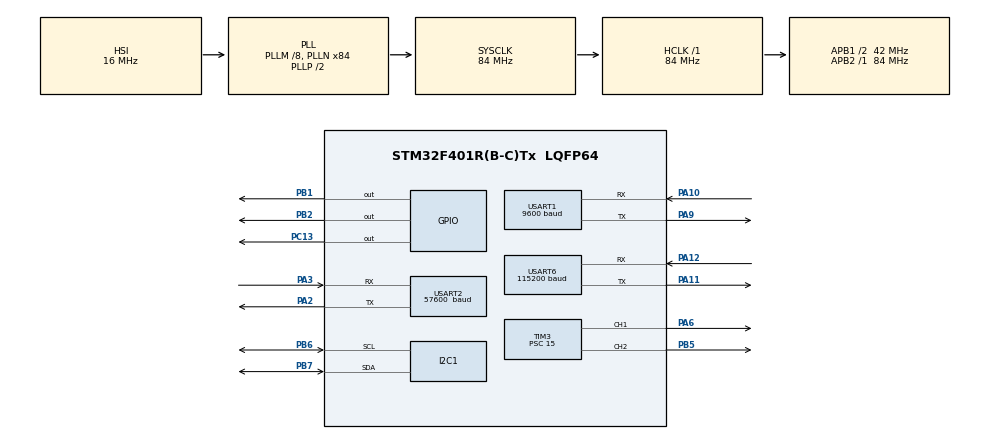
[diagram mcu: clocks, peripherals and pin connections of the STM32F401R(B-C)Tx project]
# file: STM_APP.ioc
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Dma.I2C1_RX.2.Direction=DMA_PERIPH_TO_MEMORY
Dma.I2C1_RX.2.FIFOMode=DMA_FIFOMODE_ENABLE
Dma.I2C1_RX.2.FIFOThreshold=DMA_FIFO_THRESHOLD_1QUARTERFULL
Dma.I2C1_RX.2.Instance=DMA1_Stream5
Dma.I2C1_RX.2.MemBurst=DMA_MBURST_SINGLE
Dma.I2C1_RX.2.MemDataAlignment=DMA_MDATAALIGN_HALFWORD
Dma.I2C1_RX.2.MemInc=DMA_MINC_ENABLE
Dma.I2C1_RX.2.Mode=DMA_NORMAL
Dma.I2C1_RX.2.PeriphBurst=DMA_PBURST_SINGLE
Dma.I2C1_RX.2.PeriphDataAlignment=DMA_PDATAALIGN_BYTE
Dma.I2C1_RX.2.PeriphInc=DMA_PINC_DISABLE
Dma.I2C1_RX.2.Priority=DMA_PRIORITY_MEDIUM
Dma.Request0=USART6_TX
Dma.Request1=USART6_RX
Dma.Request2=I2C1_RX
Dma.Request3=USART1_RX
Dma.Request4=USART2_TX
Dma.USART1_RX.3.Direction=DMA_PERIPH_TO_MEMORY
Dma.USART1_RX.3.FIFOMode=DMA_FIFOMODE_ENABLE
Dma.USART1_RX.3.FIFOThreshold=DMA_FIFO_THRESHOLD_1QUARTERFULL
Dma.USART1_RX.3.Instance=DMA2_Stream5
Dma.USART1_RX.3.MemBurst=DMA_MBURST_SINGLE
Dma.USART1_RX.3.MemDataAlignment=DMA_MDATAALIGN_HALFWORD
Dma.USART1_RX.3.MemInc=DMA_MINC_ENABLE
Dma.USART1_RX.3.Mode=DMA_NORMAL
Dma.USART1_RX.3.PeriphBurst=DMA_PBURST_SINGLE
Dma.USART1_RX.3.PeriphDataAlignment=DMA_PDATAALIGN_BYTE
Dma.USART1_RX.3.PeriphInc=DMA_PINC_DISABLE
Dma.USART1_RX.3.Priority=DMA_PRIORITY_MEDIUM
Dma.USART2_TX.4.Direction=DMA_MEMORY_TO_PERIPH
Dma.USART2_TX.4.FIFOMode=DMA_FIFOMODE_ENABLE
Dma.USART2_TX.4.FIFOThreshold=DMA_FIFO_THRESHOLD_1QUARTERFULL
Dma.USART2_TX.4.Instance=DMA1_Stream6
Dma.USART2_TX.4.MemBurst=DMA_MBURST_SINGLE
Dma.USART2_TX.4.MemDataAlignment=DMA_MDATAALIGN_HALFWORD
Dma.USART2_TX.4.MemInc=DMA_MINC_ENABLE
Dma.USART2_TX.4.Mode=DMA_NORMAL
Dma.USART2_TX.4.PeriphBurst=DMA_PBURST_SINGLE
Dma.USART2_TX.4.PeriphDataAlignment=DMA_PDATAALIGN_BYTE
Dma.USART2_TX.4.PeriphInc=DMA_PINC_DISABLE
Dma.USART2_TX.4.Priority=DMA_PRIORITY_LOW
Dma.USART6_RX.1.Direction=DMA_PERIPH_TO_MEMORY
Dma.USART6_RX.1.FIFOMode=DMA_FIFOMODE_DISABLE
Dma.USART6_RX.1.Instance=DMA2_Stream1
Dma.USART6_RX.1.MemDataAlignment=DMA_MDATAALIGN_BYTE
Dma.USART6_RX.1.MemInc=DMA_MINC_ENABLE
Dma.USART6_RX.1.Mode=DMA_NORMAL
Dma.USART6_RX.1.PeriphDataAlignment=DMA_PDATAALIGN_BYTE
Dma.USART6_RX.1.PeriphInc=DMA_PINC_DISABLE
Dma.USART6_RX.1.Priority=DMA_PRIORITY_LOW
Dma.USART6_TX.0.Direction=DMA_MEMORY_TO_PERIPH
Dma.USART6_TX.0.FIFOMode=DMA_FIFOMODE_DISABLE
Dma.USART6_TX.0.Instance=DMA2_Stream6
Dma.USART6_TX.0.MemDataAlignment=DMA_MDATAALIGN_BYTE
Dma.USART6_TX.0.MemInc=DMA_MINC_ENABLE
Dma.USART6_TX.0.Mode=DMA_NORMAL
Dma.USART6_TX.0.PeriphDataAlignment=DMA_PDATAALIGN_BYTE
Dma.USART6_TX.0.PeriphInc=DMA_PINC_DISABLE
Dma.USART6_TX.0.Priority=DMA_PRIORITY_LOW
FREERTOS.BinarySemaphores01=MPU_Semaphore,Dynamic,NULL;Ras_Tx_Semaphore,Dynamic,NULL;Engine_Semaphore,Dynamic,NULL;Lidar_Semaphore,Dynamic,NULL
FREERTOS.Queues01=Ras_Tx_Queue01,15,270,1,Static,Ras_Tx_Queue01Buffer,Ras_Tx_Queue01ControlBlock
FREERTOS.Tasks01=defaultTask,24,128,StartDefaultTask,Default,NULL,Dynamic,NULL,NULL;MPUTask02,40,1024,MPU_Task,Default,&hMPU,Dynamic,NULL,NULL;RasTask03,40,512,Ras_TX_Task,Default,NULL,Dynamic,NULL,NULL;EngineTask04,8,512,Engine_Task,Default,NULL,Dynamic,NULL,NULL;LidarTask05,39,512,Lidar_Task,Default,NULL,Dynamic,NULL,NULL
FREERTOS.configENABLE_FPU=1
FREERTOS.configGENERATE_RUN_TIME_STATS=1
FREERTOS.configTOTAL_HEAP_SIZE=22000
FREERTOS.configUSE_NEWLIB_REENTRANT=1
Mcu.Family=STM32F4
Mcu.Name=STM32F401R(B-C)Tx
Mcu.Package=LQFP64
NVIC.DMA1_Stream5_IRQn=true\:5\:0\:false\:false\:true\:false\:false\:true\:true
NVIC.DMA1_Stream6_IRQn=true\:5\:0\:false\:false\:true\:true\:false\:true\:true
NVIC.DMA2_Stream1_IRQn=true\:5\:0\:false\:false\:true\:true\:false\:true\:true
NVIC.DMA2_Stream5_IRQn=true\:5\:0\:false\:false\:true\:false\:false\:true\:true
NVIC.DMA2_Stream6_IRQn=true\:5\:0\:false\:false\:true\:true\:false\:true\:true
NVIC.PriorityGroup=NVIC_PRIORITYGROUP_4
NVIC.TIM2_IRQn=true\:15\:0\:false\:false\:true\:false\:false\:true\:true
NVIC.TIM3_IRQn=true\:5\:0\:false\:false\:true\:true\:true\:true\:true
NVIC.TimeBase=TIM2_IRQn
NVIC.TimeBaseIP=TIM2
NVIC.USART1_IRQn=true\:5\:0\:false\:false\:true\:true\:true\:true\:true
NVIC.USART2_IRQn=true\:5\:0\:false\:false\:true\:true\:true\:true\:true
NVIC.USART6_IRQn=true\:5\:0\:false\:false\:true\:true\:true\:true\:true
PA10.Mode=Asynchronous
PA10.Signal=USART1_RX
PA11.Mode=Asynchronous
PA11.Signal=USART6_TX
PA12.Mode=Asynchronous
PA12.Signal=USART6_RX
PA2.Mode=Asynchronous
PA2.Signal=USART2_TX
PA3.Mode=Asynchronous
PA3.Signal=USART2_RX
PA6.Signal=S_TIM3_CH1
PA9.Mode=Asynchronous
PA9.Signal=USART1_TX
PB1.Signal=GPIO_Output
PB2.Signal=GPIO_Output
PB5.Signal=S_TIM3_CH2
PB6.Mode=I2C
PB6.Signal=I2C1_SCL
PB7.Mode=I2C
PB7.Signal=I2C1_SDA
PC13-ANTI_TAMP.Signal=GPIO_Output
ProjectManager.HeapSize=0x200
ProjectManager.StackSize=0x400
ProjectManager.TargetToolchain=STM32CubeIDE
RCC.48MHZClocksFreq_Value=42000000
RCC.AHBFreq_Value=84000000
RCC.APB1CLKDivider=RCC_HCLK_DIV2
RCC.APB1Freq_Value=42000000
RCC.APB1TimFreq_Value=84000000
RCC.APB2Freq_Value=84000000
RCC.APB2TimFreq_Value=84000000
RCC.CortexFreq_Value=84000000
RCC.HCLKFreq_Value=84000000
RCC.HSE_VALUE=25000000
RCC.HSI_VALUE=16000000
RCC.LSE_VALUE=32768
RCC.PLLM=8
RCC.PLLN=84
RCC.SYSCLKFreq_VALUE=84000000
RCC.SYSCLKSource=RCC_SYSCLKSOURCE_PLLCLK
RCC.VCOOutputFreq_Value=168000000
SH.S_TIM3_CH1.0=TIM3_CH1,PWM Generation1 CH1
SH.S_TIM3_CH2.0=TIM3_CH2,PWM Generation2 CH2
TIM3.AutoReloadPreload=TIM_AUTORELOAD_PRELOAD_ENABLE
TIM3.Channel-PWM\ Generation1\ CH1=TIM_CHANNEL_1
TIM3.Channel-PWM\ Generation2\ CH2=TIM_CHANNEL_2
TIM3.Prescaler=15
TIM3.Pulse-PWM\ Generation2\ CH2=24
USART1.BaudRate=9600
USART1.VirtualMode=VM_ASYNC
USART2.BaudRate=57600 
USART2.VirtualMode=VM_ASYNC
USART6.BaudRate=115200
USART6.VirtualMode=VM_ASYNC
VP_FREERTOS_VS_CMSIS_V2.Mode=CMSIS_V2
VP_SYS_VS_tim2.Mode=TIM2
VP_TIM3_VS_ClockSourceINT.Mode=Internal
board=custom

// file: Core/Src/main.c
/* USER CODE BEGIN Header */
/**
  ******************************************************************************
  * @file           : main.c
  * @brief          : Main program body
  ******************************************************************************
  * @attention
  *
  * Copyright (c) 2024 STMicroelectronics.
  * All rights reserved.
  *
  * This software is licensed under terms that can be found in the LICENSE file
  * in the root directory of this software component.
  * If no LICENSE file comes with this software, it is provided AS-IS.
  *
  ******************************************************************************
  */
/* USER CODE END Header */
#include "main.h"
#include "cmsis_os.h"

/* USER CODE BEGIN Includes */

/*************** Fully working Example of Queue ****************/
/*
#define MSGQUEUE_OBJECTS 16                     // number of Message Queue Objects

typedef struct {                                // object data type
  char *Buf;
  uint8_t Idx;
} MSGQUEUE_OBJ_t;

osMessageQueueId_t mid_MsgQueue;

osThreadId_t tid_Thread_MsgQueue1;              // thread id 1
osThreadId_t tid_Thread_MsgQueue2;              // thread id 2

void Thread_MsgQueue1 (void *argument);         // thread function 1
void Thread_MsgQueue2 (void *argument);         // thread function 2

int Init_MsgQueue (void) {

  mid_MsgQueue = osMessageQueueNew(MSGQUEUE_OBJECTS, sizeof(MSGQUEUE_OBJ_t), NULL);
  if (mid_MsgQueue == NULL) {
    ; // Message Queue object not created, handle failure
  }

  tid_Thread_MsgQueue1 = osThreadNew(Thread_MsgQueue1, NULL, NULL);
  if (tid_Thread_MsgQueue1 == NULL) {
    return(-1);
  }
  tid_Thread_MsgQueue2 = osThreadNew(Thread_MsgQueue2, NULL, NULL);
  if (tid_Thread_MsgQueue2 == NULL) {
    return(-1);
  }

  return(0);
}

void Thread_MsgQueue1 (void *argument) {

	char msgs[][10] = {"3eed" , "ayoub" , "balio", "khairy" ,"abo ali"};
	uint8_t i  = 0;
//  MSGQUEUE_OBJ_t msg;
	char* msg;
  while (1) {
    ; // Insert thread code here...
    msg = msgs[i++];
//    msg.Buf = msgs[i];                                        // do some work...
//    msg.Idx    = i++;
    if(i > 4) i = 0;
    osMessageQueuePut(mid_MsgQueue, &msg, 0U, 0U);
    osThreadYield();                                            // suspend thread
  }
}

void Thread_MsgQueue2 (void *argument) {
//  MSGQUEUE_OBJ_t msg;
	char* msg;
  osStatus_t status;

  while (1) {
    ; // Insert thread code here...
    status = osMessageQueueGet(mid_MsgQueue, &msg, NULL, osWaitForever);   // wait for message
    status = osOK;
    if (status == osOK) {
      ; // process data
    }
  }
}
*/
#include "testing/test.h"
#include "MOV_Task/MOV.h"
#include "Lidar_Task/Lidar_Task.h"
#include "FCW_Application/FCW_App.h"
#include "Engine_RX_Task/Engine_RX_Task.h"
/* USER CODE END Includes */

typedef StaticQueue_t osStaticMessageQDef_t;
/* USER CODE BEGIN PTD */
typedef enum
{
	SYS_BLUETOOTH_RX,
	SYS_MPU_ACTION,
	SYS_MPU_DATA_BUFFER,
	SYS_MOVEMENT_ACTION,
	SYS_FRAME_COMPLETE,
	STS_DO_NOTHING

}SYS_State_t;
/* USER CODE END PTD */

/* USER CODE BEGIN PD */
char n=0, i =0, j =0;
/* USER CODE END PD */

I2C_HandleTypeDef hi2c1;
DMA_HandleTypeDef hdma_i2c1_rx;

TIM_HandleTypeDef htim3;

UART_HandleTypeDef huart1;
UART_HandleTypeDef huart2;
UART_HandleTypeDef huart6;
DMA_HandleTypeDef hdma_usart1_rx;
DMA_HandleTypeDef hdma_usart2_tx;
DMA_HandleTypeDef hdma_usart6_tx;
DMA_HandleTypeDef hdma_usart6_rx;

/* Definitions for defaultTask */
osThreadId_t defaultTaskHandle;
const osThreadAttr_t defaultTask_attributes = {
  .name = "defaultTask",
  .stack_size = 128 * 4,
  .priority = (osPriority_t) osPriorityNormal,
};
/* Definitions for MPUTask02 */
osThreadId_t MPUTask02Handle;
const osThreadAttr_t MPUTask02_attributes = {
  .name = "MPUTask02",
  .stack_size = 1024 * 4,
  .priority = (osPriority_t) osPriorityHigh,
};
/* Definitions for RasTask03 */
osThreadId_t RasTask03Handle;
const osThreadAttr_t RasTask03_attributes = {
  .name = "RasTask03",
  .stack_size = 512 * 4,
  .priority = (osPriority_t) osPriorityHigh,
};
/* Definitions for EngineTask04 */
osThreadId_t EngineTask04Handle;
const osThreadAttr_t EngineTask04_attributes = {
  .name = "EngineTask04",
  .stack_size = 512 * 4,
  .priority = (osPriority_t) osPriorityLow,
};
/* Definitions for LidarTask05 */
osThreadId_t LidarTask05Handle;
const osThreadAttr_t LidarTask05_attributes = {
  .name = "LidarTask05",
  .stack_size = 512 * 4,
  .priority = (osPriority_t) osPriorityAboveNormal7,
};
/* Definitions for Ras_Tx_Queue01 */
osMessageQueueId_t Ras_Tx_Queue01Handle;
uint8_t Ras_Tx_Queue01Buffer[ 15 * 270 ];
osStaticMessageQDef_t Ras_Tx_Queue01ControlBlock;
const osMessageQueueAttr_t Ras_Tx_Queue01_attributes = {
  .name = "Ras_Tx_Queue01",
  .cb_mem = &Ras_Tx_Queue01ControlBlock,
  .cb_size = sizeof(Ras_Tx_Queue01ControlBlock),
  .mq_mem = &Ras_Tx_Queue01Buffer,
  .mq_size = sizeof(Ras_Tx_Queue01Buffer)
};
/* Definitions for MPU_Semaphore */
osSemaphoreId_t MPU_SemaphoreHandle;
const osSemaphoreAttr_t MPU_Semaphore_attributes = {
  .name = "MPU_Semaphore"
};
/* Definitions for Ras_Tx_Semaphore */
osSemaphoreId_t Ras_Tx_SemaphoreHandle;
const osSemaphoreAttr_t Ras_Tx_Semaphore_attributes = {
  .name = "Ras_Tx_Semaphore"
};
/* Definitions for Engine_Semaphore */
osSemaphoreId_t Engine_SemaphoreHandle;
const osSemaphoreAttr_t Engine_Semaphore_attributes = {
  .name = "Engine_Semaphore"
};
/* Definitions for Lidar_Semaphore */
osSemaphoreId_t Lidar_SemaphoreHandle;
const osSemaphoreAttr_t Lidar_Semaphore_attributes = {
  .name = "Lidar_Semaphore"
};
/* USER CODE BEGIN PV */
/* Definitions for Mov_Semaphore */
//osSemaphoreId_t MOV_SemaphoreHandle;
//const osSemaphoreAttr_t MOV_Semaphore_attributes = {
//  .name = "MOV_Semaphore"
//};

/* Definitions for Lidar_Semaphore */
//osSemaphoreId_t Lidar_SemaphoreHandle;
//const osSemaphoreAttr_t Lidar_Semaphore_attributes = {
//  .name = "Lidar_Semaphore"
//};
/* Definitions for myTask03 */
//osThreadId_t myTask04Handle;
//const osThreadAttr_t myTask04_attributes = {
//  .name = "Mov",
//  .stack_size = 256 * 4,
//  .priority = (osPriority_t) osPriorityLow,
//};

//osThreadId_t myTask05Handle;
//const osThreadAttr_t myTask05_attributes = {
//  .name = "Lidar",
//  .stack_size = 512 * 4,
//  .priority = (osPriority_t) osPriorityLow,
//};
Bluetooth_Handler hbluetooth1;

Task_MOV_Data mov_Data=
{
		.hmotor_1 = &MOTOR_1_cfg,
		.hmotor_2 = &MOTOR_2_cfg,
		.h_bluetooth = &hbluetooth1
};

SYS_State_t state = STS_DO_NOTHING;

Lidar_Handle hluna;

FCW_Handle fcwHandle ;

//MOV_Handler hmove ;
//int n =0;
/* USER CODE END PV */

void SystemClock_Config(void);
static void MX_GPIO_Init(void);
static void MX_DMA_Init(void);
static void MX_TIM3_Init(void);
static void MX_USART6_UART_Init(void);
static void MX_I2C1_Init(void);
static void MX_USART1_UART_Init(void);
static void MX_USART2_UART_Init(void);
void StartDefaultTask(void *argument);

/* USER CODE BEGIN PFP */
void Task1(void *argument);
void Task2(void *argument);
void Objects_init(void);
void Task_Test(void *argument);
/* USER CODE END PFP */

int main(void)
{

  /* MCU Configuration--------------------------------------------------------*/

  /* Reset of all peripherals, Initializes the Flash interface and the Systick. */
  HAL_Init();

  /* USER CODE BEGIN Init */
//  Init_MsgQueue();
  /* USER CODE END Init */

  /* Configure the system clock */
  SystemClock_Config();

  /* Initialize all configured peripherals */
  MX_GPIO_Init();
  MX_DMA_Init();
  MX_TIM3_Init();
  MX_USART6_UART_Init();
  MX_I2C1_Init();
  MX_USART1_UART_Init();
  MX_USART2_UART_Init();
  /* USER CODE BEGIN 2 */
//  SystemClock_Cfg();
//  Peripherals_Init();

  MPU_enuInit(&hMPU);

//  HAL_TIM_Base_Start_IT(&htim2);
  Objects_init();

//  unsigned char data;
//  HAL_UART_Receive_IT(&huart6, &data, sizeof(uint8_t));

  //MOV_enuReceiveData(&hbluetooth1);

  /* USER CODE END 2 */

  /* Init scheduler */
  osKernelInitialize();

  /* Create the semaphores(s) */
  /* creation of MPU_Semaphore */
  MPU_SemaphoreHandle = osSemaphoreNew(1, 0, &MPU_Semaphore_attributes);

  /* creation of Ras_Tx_Semaphore */
  Ras_Tx_SemaphoreHandle = osSemaphoreNew(1, 0, &Ras_Tx_Semaphore_attributes);

  /* creation of Engine_Semaphore */
  Engine_SemaphoreHandle = osSemaphoreNew(1, 0, &Engine_Semaphore_attributes);

  /* creation of Lidar_Semaphore */
  Lidar_SemaphoreHandle = osSemaphoreNew(1, 0, &Lidar_Semaphore_attributes);

  /* USER CODE BEGIN RTOS_SEMAPHORES */
//  MOV_SemaphoreHandle = osSemaphoreNew(1U, 0U, &MOV_Semaphore_attributes);
  osSemaphoreRelease(MPU_SemaphoreHandle); //start the semaphore with 1
  osSemaphoreRelease(Ras_Tx_SemaphoreHandle); //start the semaphore with 1
  osSemaphoreRelease(Lidar_SemaphoreHandle); //start the semaphore with 1
//  /* USER CODE BEGIN RTOS_SEMAPHORES */
//  Lidar_SemaphoreHandle = osSemaphoreNew(1U, 1U, &Lidar_Semaphore_attributes);

  /* add semaphores, ... */
  /* USER CODE END RTOS_SEMAPHORES */

  /* Create the queue(s) */
  /* creation of Ras_Tx_Queue01 */
  Ras_Tx_Queue01Handle = osMessageQueueNew (15, 270, &Ras_Tx_Queue01_attributes);

  /* USER CODE BEGIN RTOS_QUEUES */
//  testing_logs_init(&Ras_Tx_Queue01Handle);
  Ras_TX_task_init(&Ras_Tx_Queue01Handle,&Ras_Tx_SemaphoreHandle,&huart2);
  MPU_Init_Task(&Ras_Tx_Queue01Handle,&MPU_SemaphoreHandle,&fcwHandle);
//  MOV_Init_Task(&hbluetooth1,&MOV_SemaphoreHandle,&fcwHandle);
  Lidar_Init_Task(&Lidar_SemaphoreHandle,&hluna, &huart6,&fcwHandle);
  Engine_RX_Task_init(&Engine_SemaphoreHandle,&huart1,&fcwHandle);
//  Test1_init(&Ras_Tx_Queue01Handle);
  /* add queues, ... */
  /* USER CODE END RTOS_QUEUES */

  /* Create the thread(s) */
  /* creation of defaultTask */
  defaultTaskHandle = osThreadNew(StartDefaultTask, NULL, &defaultTask_attributes);

  /* creation of MPUTask02 */
  MPUTask02Handle = osThreadNew(MPU_Task, (void*) &hMPU, &MPUTask02_attributes);

  /* creation of RasTask03 */
  RasTask03Handle = osThreadNew(Ras_TX_Task, NULL, &RasTask03_attributes);

  /* creation of EngineTask04 */
  EngineTask04Handle = osThreadNew(Engine_RX_Task, NULL, &EngineTask04_attributes);

  /* creation of LidarTask05 */
  LidarTask05Handle = osThreadNew(Lidar_Task, NULL, &LidarTask05_attributes);

  /* USER CODE BEGIN RTOS_THREADS */
  /* add threads, ... */
  /* creation of myTask04 */
  ////myTask04Handle = osThreadNew(MOV_Task, &mov_Data, &myTask04_attributes);
  //printTaskState( "Mov Task",osThreadGetState(myTask04Handle),"[Before Kernel Start]");
  /* creation of myTask05 */
  ////myTask05Handle = osThreadNew(Lidar_Task, NULL, &myTask05_attributes);
  //printTaskState( "Lidar Task",osThreadGetState(myTask05Handle),"[Before Kernel Start]");
  //myTask05Handle = osThreadNew(Task_Test, NULL, &myTask05_attributes);

  ////myTask02Handle = osThreadNew(MPU_Task, &data, &myTask02_attributes);
  //printTaskState( "MPU Task",osThreadGetState(myTask02Handle),"[Before Kernel Start]");

  //printing states before starting the kernel

  /* USER CODE END RTOS_THREADS */

  /* USER CODE BEGIN RTOS_EVENTS */
  /* add events, ... */
//  Ras_TX_task_init(&Ras_Tx_Queue01Handle , &Ras_Tx_SemaphoreHandle, &huart2);
  /* USER CODE END RTOS_EVENTS */

  /* Start scheduler */
  osKernelStart();

  /* We should never get here as control is now taken by the scheduler */
  /* Infinite loop */
  while (1)
  {

  }
}

void SystemClock_Config(void)
{
  RCC_OscInitTypeDef RCC_OscInitStruct = {0};
  RCC_ClkInitTypeDef RCC_ClkInitStruct = {0};

  /** Configure the main internal regulator output voltage
  */
  __HAL_RCC_PWR_CLK_ENABLE();
  __HAL_PWR_VOLTAGESCALING_CONFIG(PWR_REGULATOR_VOLTAGE_SCALE2);

  /** Initializes the RCC Oscillators according to the specified parameters
  * in the RCC_OscInitTypeDef structure.
  */
  RCC_OscInitStruct.OscillatorType = RCC_OSCILLATORTYPE_HSI;
  RCC_OscInitStruct.HSIState = RCC_HSI_ON;
  RCC_OscInitStruct.HSICalibrationValue = RCC_HSICALIBRATION_DEFAULT;
  RCC_OscInitStruct.PLL.PLLState = RCC_PLL_ON;
  RCC_OscInitStruct.PLL.PLLSource = RCC_PLLSOURCE_HSI;
  RCC_OscInitStruct.PLL.PLLM = 8;
  RCC_OscInitStruct.PLL.PLLN = 84;
  RCC_OscInitStruct.PLL.PLLP = RCC_PLLP_DIV2;
  RCC_OscInitStruct.PLL.PLLQ = 4;
  if (HAL_RCC_OscConfig(&RCC_OscInitStruct) != HAL_OK)
  {
    Error_Handler();
  }

  /** Initializes the CPU, AHB and APB buses clocks
  */
  RCC_ClkInitStruct.ClockType = RCC_CLOCKTYPE_HCLK|RCC_CLOCKTYPE_SYSCLK
                              |RCC_CLOCKTYPE_PCLK1|RCC_CLOCKTYPE_PCLK2;
  RCC_ClkInitStruct.SYSCLKSource = RCC_SYSCLKSOURCE_PLLCLK;
  RCC_ClkInitStruct.AHBCLKDivider = RCC_SYSCLK_DIV1;
  RCC_ClkInitStruct.APB1CLKDivider = RCC_HCLK_DIV2;
  RCC_ClkInitStruct.APB2CLKDivider = RCC_HCLK_DIV1;

  if (HAL_RCC_ClockConfig(&RCC_ClkInitStruct, FLASH_LATENCY_2) != HAL_OK)
  {
    Error_Handler();
  }
}

static void MX_I2C1_Init(void)
{

  hi2c1.Instance = I2C1;
  hi2c1.Init.ClockSpeed = 100000;
  hi2c1.Init.DutyCycle = I2C_DUTYCYCLE_2;
  hi2c1.Init.OwnAddress1 = 0;
  hi2c1.Init.AddressingMode = I2C_ADDRESSINGMODE_7BIT;
  hi2c1.Init.DualAddressMode = I2C_DUALADDRESS_DISABLE;
  hi2c1.Init.OwnAddress2 = 0;
  hi2c1.Init.GeneralCallMode = I2C_GENERALCALL_DISABLE;
  hi2c1.Init.NoStretchMode = I2C_NOSTRETCH_DISABLE;
  if (HAL_I2C_Init(&hi2c1) != HAL_OK)
  {
    Error_Handler();
  }

}

static void MX_TIM3_Init(void)
{

  TIM_ClockConfigTypeDef sClockSourceConfig = {0};
  TIM_MasterConfigTypeDef sMasterConfig = {0};
  TIM_OC_InitTypeDef sConfigOC = {0};

  htim3.Instance = TIM3;
  htim3.Init.Prescaler = 15;
  htim3.Init.CounterMode = TIM_COUNTERMODE_UP;
  htim3.Init.Period = 65535;
  htim3.Init.ClockDivision = TIM_CLOCKDIVISION_DIV1;
  htim3.Init.AutoReloadPreload = TIM_AUTORELOAD_PRELOAD_ENABLE;
  if (HAL_TIM_Base_Init(&htim3) != HAL_OK)
  {
    Error_Handler();
  }
  sClockSourceConfig.ClockSource = TIM_CLOCKSOURCE_INTERNAL;
  if (HAL_TIM_ConfigClockSource(&htim3, &sClockSourceConfig) != HAL_OK)
  {
    Error_Handler();
  }
  if (HAL_TIM_PWM_Init(&htim3) != HAL_OK)
  {
    Error_Handler();
  }
  sMasterConfig.MasterOutputTrigger = TIM_TRGO_RESET;
  sMasterConfig.MasterSlaveMode = TIM_MASTERSLAVEMODE_DISABLE;
  if (HAL_TIMEx_MasterConfigSynchronization(&htim3, &sMasterConfig) != HAL_OK)
  {
    Error_Handler();
  }
  sConfigOC.OCMode = TIM_OCMODE_PWM1;
  sConfigOC.Pulse = 0;
  sConfigOC.OCPolarity = TIM_OCPOLARITY_HIGH;
  sConfigOC.OCFastMode = TIM_OCFAST_DISABLE;
  if (HAL_TIM_PWM_ConfigChannel(&htim3, &sConfigOC, TIM_CHANNEL_1) != HAL_OK)
  {
    Error_Handler();
  }
  sConfigOC.Pulse = 24;
  if (HAL_TIM_PWM_ConfigChannel(&htim3, &sConfigOC, TIM_CHANNEL_2) != HAL_OK)
  {
    Error_Handler();
  }
  HAL_TIM_MspPostInit(&htim3);

}

static void MX_USART1_UART_Init(void)
{

  huart1.Instance = USART1;
  huart1.Init.BaudRate = 19600;
  huart1.Init.WordLength = UART_WORDLENGTH_8B;
  huart1.Init.StopBits = UART_STOPBITS_1;
  huart1.Init.Parity = UART_PARITY_NONE;
  huart1.Init.Mode = UART_MODE_TX_RX;
  huart1.Init.HwFlowCtl = UART_HWCONTROL_NONE;
  huart1.Init.OverSampling = UART_OVERSAMPLING_16;
  if (HAL_UART_Init(&huart1) != HAL_OK)
  {
    Error_Handler();
  }

}

static void MX_USART2_UART_Init(void)
{

  huart2.Instance = USART2;
  huart2.Init.BaudRate = 57600 ;
  huart2.Init.WordLength = UART_WORDLENGTH_8B;
  huart2.Init.StopBits = UART_STOPBITS_1;
  huart2.Init.Parity = UART_PARITY_NONE;
  huart2.Init.Mode = UART_MODE_TX_RX;
  huart2.Init.HwFlowCtl = UART_HWCONTROL_NONE;
  huart2.Init.OverSampling = UART_OVERSAMPLING_16;
  if (HAL_UART_Init(&huart2) != HAL_OK)
  {
    Error_Handler();
  }

}

static void MX_USART6_UART_Init(void)
{

  huart6.Instance = USART6;
  huart6.Init.BaudRate = 115200;
  huart6.Init.WordLength = UART_WORDLENGTH_8B;
  huart6.Init.StopBits = UART_STOPBITS_1;
  huart6.Init.Parity = UART_PARITY_NONE;
  huart6.Init.Mode = UART_MODE_TX_RX;
  huart6.Init.HwFlowCtl = UART_HWCONTROL_NONE;
  huart6.Init.OverSampling = UART_OVERSAMPLING_16;
  if (HAL_UART_Init(&huart6) != HAL_OK)
  {
    Error_Handler();
  }

}

static void MX_DMA_Init(void)
{

  /* DMA controller clock enable */
  __HAL_RCC_DMA2_CLK_ENABLE();
  __HAL_RCC_DMA1_CLK_ENABLE();

  /* DMA interrupt init */
  /* DMA1_Stream5_IRQn interrupt configuration */
  HAL_NVIC_SetPriority(DMA1_Stream5_IRQn, 5, 0);
  HAL_NVIC_EnableIRQ(DMA1_Stream5_IRQn);
  /* DMA1_Stream6_IRQn interrupt configuration */
  HAL_NVIC_SetPriority(DMA1_Stream6_IRQn, 5, 0);
  HAL_NVIC_EnableIRQ(DMA1_Stream6_IRQn);
  /* DMA2_Stream1_IRQn interrupt configuration */
  HAL_NVIC_SetPriority(DMA2_Stream1_IRQn, 5, 0);
  HAL_NVIC_EnableIRQ(DMA2_Stream1_IRQn);
  /* DMA2_Stream5_IRQn interrupt configuration */
  HAL_NVIC_SetPriority(DMA2_Stream5_IRQn, 5, 0);
  HAL_NVIC_EnableIRQ(DMA2_Stream5_IRQn);
  /* DMA2_Stream6_IRQn interrupt configuration */
  HAL_NVIC_SetPriority(DMA2_Stream6_IRQn, 5, 0);
  HAL_NVIC_EnableIRQ(DMA2_Stream6_IRQn);

}

static void MX_GPIO_Init(void)
{
  GPIO_InitTypeDef GPIO_InitStruct = {0};

  /* GPIO Ports Clock Enable */
  __HAL_RCC_GPIOC_CLK_ENABLE();
  __HAL_RCC_GPIOA_CLK_ENABLE();
  __HAL_RCC_GPIOB_CLK_ENABLE();

  /*Configure GPIO pin Output Level */
  HAL_GPIO_WritePin(GPIOC, GPIO_PIN_13, GPIO_PIN_RESET);

  /*Configure GPIO pin Output Level */
  HAL_GPIO_WritePin(GPIOB, GPIO_PIN_1|GPIO_PIN_2, GPIO_PIN_RESET);

  /*Configure GPIO pin : PC13 */
  GPIO_InitStruct.Pin = GPIO_PIN_13;
  GPIO_InitStruct.Mode = GPIO_MODE_OUTPUT_PP;
  GPIO_InitStruct.Pull = GPIO_NOPULL;
  GPIO_InitStruct.Speed = GPIO_SPEED_FREQ_LOW;
  HAL_GPIO_Init(GPIOC, &GPIO_InitStruct);

  /*Configure GPIO pins : PB1 PB2 */
  GPIO_InitStruct.Pin = GPIO_PIN_1|GPIO_PIN_2;
  GPIO_InitStruct.Mode = GPIO_MODE_OUTPUT_PP;
  GPIO_InitStruct.Pull = GPIO_NOPULL;
  GPIO_InitStruct.Speed = GPIO_SPEED_FREQ_LOW;
  HAL_GPIO_Init(GPIOB, &GPIO_InitStruct);

}

/* USER CODE BEGIN 4 */

/**
 *** Callback Functions ********************************************************
 **/

/* ----------------------------- USART -------------------------------- */

void HAL_UART_TxCpltCallback(UART_HandleTypeDef *huart){

	if(huart->Instance == USART2)
		{
			Ras_UART_Callback();

		}

}

void HAL_UART_RxCpltCallback(UART_HandleTypeDef *huart)
{
	if(huart->Instance == USART1)
	{
		/* RSPB_RxCpltProcess(huart); */
		//Lidar_RxFrameCallBack();
//		logs_debg("Ldr RXCP", "in the cp");
		Engine_Callback();
	}
	else if(huart->Instance == USART2)
	{
//		Ras_UART_Callback();
		//osSemaphoreRelease(Ras_Tx_SemaphoreHandle);
//		testing_UART_task4_CallBack();
	}
	else if(huart->Instance == USART6)
	{
		//BLUTH_RxCpltProcess(&hbluetooth1);
		Lidar_RxFrameCallBack();
	}
}

/* ----------------------------- I2C -------------------------------- */

void HAL_I2C_MemRxCpltCallback(I2C_HandleTypeDef *hi2c)
{
	if(hi2c->Instance == I2C1)
	{
		MPU_RxCpltProcess(&hMPU);
	}
	else if(hi2c->Instance == I2C2)
	{

	}
	else if(hi2c->Instance == I2C3)
	{

	}

}

void Objects_init(void)
{
	  hbluetooth1.huartX = &huart1;
//	  hmove.SourceBuffer = hbluetooth1.ReceivingQueue;
//	  hmove.hmotor_1 = &MOTOR_1_cfg;
//	  hmove.hmotor_2 = &MOTOR_2_cfg;
}

void Task_Test(void *argument)
{

	char *msg = "Mostafa Ali Known as 3eed";
	uint8_t i = 0;
	for(;;)
	{
		HAL_GPIO_TogglePin(GPIOC, GPIO_PIN_13);
		static uint32_t count =0;
		logs_debg("ras","{'times':'%d'}",count++);
		vTaskDelay(400);
	}
}

void Task1(void *argument)
{

	char *msg = "Mostafa Ali Known as 3eed";
	uint8_t i = 0;
	for(;;)
	{
		 char c = msg[i++];
		 if (i >= 25){
			 i = 0;
		 }
		 c = 'h';
		 vTaskDelay(5);
	}
}

void Task2(void *argument)
{
	char *msg = "Mostafa Ali Known as 3eed";
		uint8_t i = 0;
		for(;;)
		{
			 char c = msg[i++];
			 if (i >= 25){
				 i = 0;
			 }
			 c = 'h';
			 vTaskDelay(5);
		}
}

/* USER CODE END 4 */

void StartDefaultTask(void *argument)
{
  /* USER CODE BEGIN 5 */
  /* Infinite loop */
  for(;;)
  {
//	  printTaskState( "default Task",osThreadGetState(defaultTaskHandle),"[From Default Task]");
//	  printTaskState( "MPU Task",osThreadGetState(myTask02Handle),"[From Default Task]");
//	  printTaskState( "Ras Task",osThreadGetState(myTask03Handle),"[From Default Task]");
//	  printTaskState( "Mov Task",osThreadGetState(myTask04Handle),"[From Default Task]");
//	  printTaskState( "Lidar Task",osThreadGetState(myTask05Handle),"[From Default Task]");
      osDelay(1);
  }
  /* USER CODE END 5 */
}

/* USER CODE BEGIN Header_MPU_Task */

void HAL_TIM_PeriodElapsedCallback(TIM_HandleTypeDef *htim)
{
  if (htim->Instance == TIM2) {
    HAL_IncTick();
  }
}

void Error_Handler(void)
{
  __disable_irq();
  while (1)
  {
  }
}
